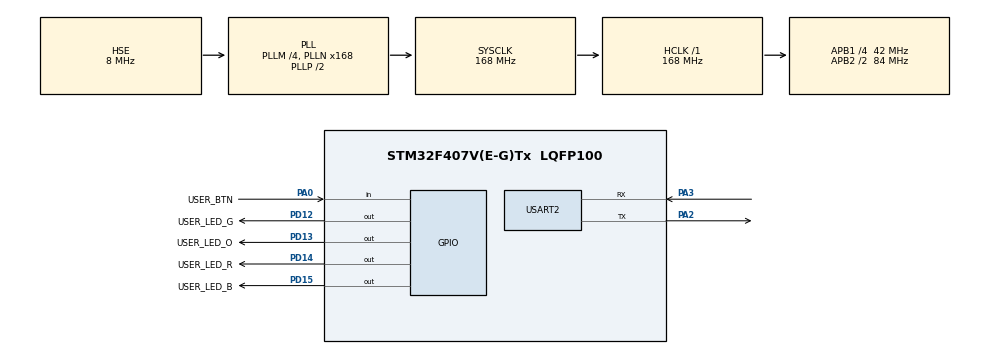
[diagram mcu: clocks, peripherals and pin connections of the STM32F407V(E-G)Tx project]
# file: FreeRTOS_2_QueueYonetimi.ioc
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FREERTOS.Tasks01=SenderTask,0,128,SendFunction,Default,NULL,Dynamic,NULL,NULL;ReceiverTask,-3,128,ReceiveFunction,Default,NULL,Dynamic,NULL,NULL
Mcu.Family=STM32F4
Mcu.Name=STM32F407V(E-G)Tx
Mcu.Package=LQFP100
NVIC.PriorityGroup=NVIC_PRIORITYGROUP_4
NVIC.TIM1_UP_TIM10_IRQn=true\:0\:0\:false\:false\:true\:false\:false\:true
NVIC.TimeBase=TIM1_UP_TIM10_IRQn
NVIC.TimeBaseIP=TIM1
PA0-WKUP.GPIO_Label=USER_BTN
PA0-WKUP.Signal=GPIO_Input
PA2.Mode=Asynchronous
PA2.Signal=USART2_TX
PA3.Mode=Asynchronous
PA3.Signal=USART2_RX
PD12.GPIO_Label=USER_LED_G
PD12.Signal=GPIO_Output
PD13.GPIO_Label=USER_LED_O
PD13.Signal=GPIO_Output
PD14.GPIO_Label=USER_LED_R
PD14.Signal=GPIO_Output
PD15.GPIO_Label=USER_LED_B
PD15.Signal=GPIO_Output
PH0-OSC_IN.Mode=HSE-External-Oscillator
PH0-OSC_IN.Signal=RCC_OSC_IN
PH1-OSC_OUT.Mode=HSE-External-Oscillator
PH1-OSC_OUT.Signal=RCC_OSC_OUT
ProjectManager.HeapSize=0x200
ProjectManager.StackSize=0x400
ProjectManager.TargetToolchain=STM32CubeIDE
RCC.48MHZClocksFreq_Value=84000000
RCC.AHBFreq_Value=168000000
RCC.APB1CLKDivider=RCC_HCLK_DIV4
RCC.APB1Freq_Value=42000000
RCC.APB1TimFreq_Value=84000000
RCC.APB2CLKDivider=RCC_HCLK_DIV2
RCC.APB2Freq_Value=84000000
RCC.APB2TimFreq_Value=168000000
RCC.CortexFreq_Value=168000000
RCC.HCLKFreq_Value=168000000
RCC.HSE_VALUE=8000000
RCC.HSI_VALUE=16000000
RCC.LSE_VALUE=32768
RCC.PLLM=4
RCC.PLLN=168
RCC.PLLSourceVirtual=RCC_PLLSOURCE_HSE
RCC.SYSCLKFreq_VALUE=168000000
RCC.SYSCLKSource=RCC_SYSCLKSOURCE_PLLCLK
RCC.VCOOutputFreq_Value=336000000
USART2.VirtualMode=VM_ASYNC
VP_FREERTOS_VS_CMSIS_V1.Mode=CMSIS_V1
VP_SYS_VS_tim1.Mode=TIM1
board=custom

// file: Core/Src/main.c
/* USER CODE BEGIN Header */
/**
  ******************************************************************************
  * @file           : main.c
  * @brief          : Main program body
  ******************************************************************************
  * @attention
  *
  * <h2><center>&copy; Copyright (c) 2020 STMicroelectronics.
  * All rights reserved.</center></h2>
  *
  * This software component is licensed by ST under BSD 3-Clause license,
  * the "License"; You may not use this file except in compliance with the
  * License. You may obtain a copy of the License at:
  *                        opensource.org/licenses/BSD-3-Clause
  *
  ******************************************************************************
  */
/* USER CODE END Header */
#include "main.h"
#include "cmsis_os.h"

/* USER CODE BEGIN Includes */
#include "string.h"
#include "stdio.h"
/* USER CODE END Includes */

UART_HandleTypeDef huart2;

osThreadId SenderTaskHandle;
osThreadId ReceiverTaskHandle;
/* USER CODE BEGIN PV */
osThreadId SenderTaskHandle2;

QueueHandle_t xQueue;
/* USER CODE END PV */

void SystemClock_Config(void);
static void MX_GPIO_Init(void);
static void MX_USART2_UART_Init(void);
void SendFunction(void const * argument);
void ReceiveFunction(void const * argument);

/* USER CODE BEGIN PFP */
void UartPrint(char* message);
/* USER CODE END PFP */

int main(void)
{

  /* MCU Configuration--------------------------------------------------------*/

  /* Reset of all peripherals, Initializes the Flash interface and the Systick. */
  HAL_Init();

  /* Configure the system clock */
  SystemClock_Config();

  /* Initialize all configured peripherals */
  MX_GPIO_Init();
  MX_USART2_UART_Init();

  /* USER CODE BEGIN RTOS_QUEUES */

   xQueue = xQueueCreate(5, sizeof(int32_t));

  /* add queues, ... */
  /* USER CODE END RTOS_QUEUES */

   if(xQueue != NULL)
   {
  /* Create the thread(s) */
  /* definition and creation of SenderTask */
	  osThreadDef(SenderTask, SendFunction, osPriorityNormal, 0, 128);
	  SenderTaskHandle = osThreadCreate(osThread(SenderTask), (void*)100);

	  /* definition and creation of ReceiverTask */
	  osThreadDef(ReceiverTask, ReceiveFunction, osPriorityAboveNormal, 0, 128);
	  ReceiverTaskHandle = osThreadCreate(osThread(ReceiverTask), NULL);

  /* USER CODE BEGIN RTOS_THREADS */

	  // Yeni bir task olusturulmustur.
	  // xTaskCreate(SendFunction, "SenderTask2", configMINIMAL_STACK_SIZE, NULL , osPriorityNormal, NULL);

	  osThreadDef(SenderTask2, SendFunction, osPriorityNormal, 0, 128);
	  SenderTaskHandle2 = osThreadCreate(osThread(SenderTask2), (void*)200);
  }

  /* add threads, ... */
  /* USER CODE END RTOS_THREADS */

  /* Start scheduler */
  osKernelStart();

  /* We should never get here as control is now taken by the scheduler */
  /* Infinite loop */
  while (1)
  {

  }
}

void SystemClock_Config(void)
{
  RCC_OscInitTypeDef RCC_OscInitStruct = {0};
  RCC_ClkInitTypeDef RCC_ClkInitStruct = {0};

  /** Configure the main internal regulator output voltage
  */
  __HAL_RCC_PWR_CLK_ENABLE();
  __HAL_PWR_VOLTAGESCALING_CONFIG(PWR_REGULATOR_VOLTAGE_SCALE1);
  /** Initializes the RCC Oscillators according to the specified parameters
  * in the RCC_OscInitTypeDef structure.
  */
  RCC_OscInitStruct.OscillatorType = RCC_OSCILLATORTYPE_HSE;
  RCC_OscInitStruct.HSEState = RCC_HSE_ON;
  RCC_OscInitStruct.PLL.PLLState = RCC_PLL_ON;
  RCC_OscInitStruct.PLL.PLLSource = RCC_PLLSOURCE_HSE;
  RCC_OscInitStruct.PLL.PLLM = 4;
  RCC_OscInitStruct.PLL.PLLN = 168;
  RCC_OscInitStruct.PLL.PLLP = RCC_PLLP_DIV2;
  RCC_OscInitStruct.PLL.PLLQ = 4;
  if (HAL_RCC_OscConfig(&RCC_OscInitStruct) != HAL_OK)
  {
    Error_Handler();
  }
  /** Initializes the CPU, AHB and APB buses clocks
  */
  RCC_ClkInitStruct.ClockType = RCC_CLOCKTYPE_HCLK|RCC_CLOCKTYPE_SYSCLK
                              |RCC_CLOCKTYPE_PCLK1|RCC_CLOCKTYPE_PCLK2;
  RCC_ClkInitStruct.SYSCLKSource = RCC_SYSCLKSOURCE_PLLCLK;
  RCC_ClkInitStruct.AHBCLKDivider = RCC_SYSCLK_DIV1;
  RCC_ClkInitStruct.APB1CLKDivider = RCC_HCLK_DIV4;
  RCC_ClkInitStruct.APB2CLKDivider = RCC_HCLK_DIV2;

  if (HAL_RCC_ClockConfig(&RCC_ClkInitStruct, FLASH_LATENCY_5) != HAL_OK)
  {
    Error_Handler();
  }
}

static void MX_USART2_UART_Init(void)
{

  huart2.Instance = USART2;
  huart2.Init.BaudRate = 115200;
  huart2.Init.WordLength = UART_WORDLENGTH_8B;
  huart2.Init.StopBits = UART_STOPBITS_1;
  huart2.Init.Parity = UART_PARITY_NONE;
  huart2.Init.Mode = UART_MODE_TX_RX;
  huart2.Init.HwFlowCtl = UART_HWCONTROL_NONE;
  huart2.Init.OverSampling = UART_OVERSAMPLING_16;
  if (HAL_UART_Init(&huart2) != HAL_OK)
  {
    Error_Handler();
  }

}

static void MX_GPIO_Init(void)
{
  GPIO_InitTypeDef GPIO_InitStruct = {0};

  /* GPIO Ports Clock Enable */
  __HAL_RCC_GPIOH_CLK_ENABLE();
  __HAL_RCC_GPIOA_CLK_ENABLE();
  __HAL_RCC_GPIOD_CLK_ENABLE();

  /*Configure GPIO pin Output Level */
  HAL_GPIO_WritePin(GPIOD, USER_LED_G_Pin|USER_LED_O_Pin|USER_LED_R_Pin|USER_LED_B_Pin, GPIO_PIN_RESET);

  /*Configure GPIO pin : USER_BTN_Pin */
  GPIO_InitStruct.Pin = USER_BTN_Pin;
  GPIO_InitStruct.Mode = GPIO_MODE_INPUT;
  GPIO_InitStruct.Pull = GPIO_NOPULL;
  HAL_GPIO_Init(USER_BTN_GPIO_Port, &GPIO_InitStruct);

  /*Configure GPIO pins : USER_LED_G_Pin USER_LED_O_Pin USER_LED_R_Pin USER_LED_B_Pin */
  GPIO_InitStruct.Pin = USER_LED_G_Pin|USER_LED_O_Pin|USER_LED_R_Pin|USER_LED_B_Pin;
  GPIO_InitStruct.Mode = GPIO_MODE_OUTPUT_PP;
  GPIO_InitStruct.Pull = GPIO_NOPULL;
  GPIO_InitStruct.Speed = GPIO_SPEED_FREQ_LOW;
  HAL_GPIO_Init(GPIOD, &GPIO_InitStruct);

}

/* USER CODE BEGIN 4 */

void UartPrint(char* message)
{
	HAL_UART_Transmit(&huart2, (uint8_t*)message, strlen(message), 50);
}

/* USER CODE END 4 */

void SendFunction(void const * argument)
{
  /* USER CODE BEGIN 5 */

	int32_t ValueToSend = (int32_t)(argument);
	BaseType_t xStatus;
  /* Infinite loop */
  for(;;)
  {

	  if( HAL_GPIO_ReadPin(USER_BTN_GPIO_Port, USER_BTN_Pin) == GPIO_PIN_SET)
	  {
		  xStatus = xQueueSendToBack(xQueue, &ValueToSend, 0);

		  if(xStatus != pdPASS)
		  {
			  UartPrint("Veri kuyruga yazilamadi\r\n");
		  }
	  }

  }
  /* USER CODE END 5 */
}

void ReceiveFunction(void const * argument)
{
  /* USER CODE BEGIN ReceiveFunction */

	int32_t ReceivedValue;
	BaseType_t xStatus;
	const TickType_t xTicksToWait = pdMS_TO_TICKS( 1000 );

  /* Infinite loop */
  for(;;)
  {

	  if( uxQueueMessagesWaiting( xQueue ) != 0 )
	  {
		  UartPrint("Kuyrukta bos yer yok\r\n");
	  }

//	   Kernel xQueueReceive() geldiginde eger kuyrukta veri yoksa xTicksToWait suresi kadar bekler.
//	   Ne zaman ki kuyruga veri yazilir Kernel xQueueReceive() fonksiyonunda kaldigi yerden devam eder.

	  xStatus = xQueueReceive( xQueue, &ReceivedValue, xTicksToWait );

	  if( xStatus == pdPASS )
	  {
		  char msg[25];
		  snprintf(msg,25,"Received value : %ld\r\n",ReceivedValue);
		  UartPrint(msg);
	  }
	  else
	  {
		  UartPrint("Kuyrukta veri yok..\r\n");
	  }
  }
  /* USER CODE END ReceiveFunction */
}

void HAL_TIM_PeriodElapsedCallback(TIM_HandleTypeDef *htim)
{
  if (htim->Instance == TIM1) {
    HAL_IncTick();
  }
}

void Error_Handler(void)
{
}

/************************ (C) COPYRIGHT STMicroelectronics *****END OF FILE****/
